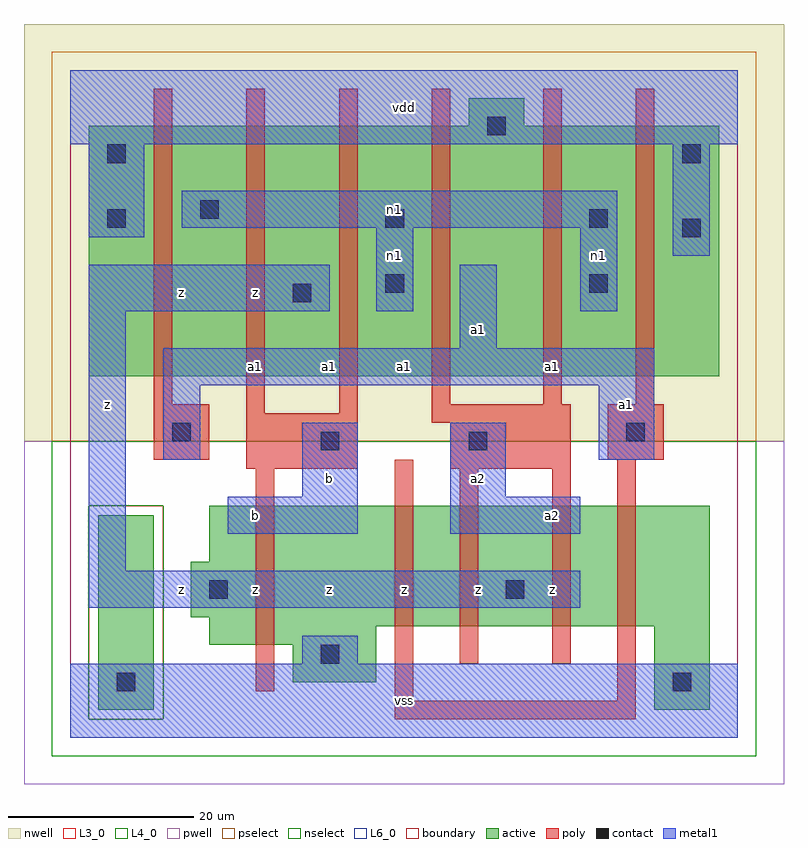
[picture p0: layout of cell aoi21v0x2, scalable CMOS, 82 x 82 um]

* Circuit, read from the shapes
.subckt aoi21v0x2 a1 a2 b n1 vdd vss z
M1 vss b z vss nfet w=15u l=2u
M2 n2 a1 vss vss nfet w=13u l=2u
M3 z a2 n2 vss nfet w=13u l=2u
M4 n3 a2 z vss nfet w=13u l=2u
M5 vss a1 n3 vss nfet w=13u l=2u
M6 n1 a1 vdd n4 pfet w=27u l=2u m=2
M7 z b n1 n4 pfet w=27u l=2u m=2
M8 vdd a2 n1 n4 pfet w=27u l=2u m=2
.ends

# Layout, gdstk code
import gdstk
lib = gdstk.Library(unit=1e-6, precision=1e-09)
def R(c, l, rs):  # rectangles x0, y0, x1, y1
    for r in rs: c.add(gdstk.rectangle(r[:2], r[2:], *l))
L3_0 = (3, 0)
L4_0 = (4, 0)
L6_0 = (6, 0)
contact = (25, 0)
pwell = (41, 0)
nwell = (42, 0)
active = (43, 0)
pselect = (44, 0)
nselect = (45, 0)
poly = (46, 0)
metal1 = (49, 0)
boundary = (63, 0)

aoi21v0x2 = lib.new_cell('aoi21v0x2')
R(aoi21v0x2, L3_0, [(63,3,69,12), (24,6,33,10), (15,10,33,12), (15,12,69,13), (13,13,69,19), (15,19,69,25)])
R(aoi21v0x2, L4_0, [(2,39,70,66), (43,66,49,69)])
R(aoi21v0x2, L6_0, [(3,3,9,24)])
R(aoi21v0x2, contact, [(5,5,7,7), (65,5,67,7), (27,8,29,10), (15,15,17,17), (47,15,49,17), (27,31,29,33), (43,31,45,33), (11,32,13,34), (60,32,62,34), (24,47,26,49), (34,48,36,50), (56,48,58,50), (66,54,68,56), (4,55,6,57), (34,55,36,57), (56,55,58,57), (14,56,16,58), (4,62,6,64), (66,62,68,64), (45,65,47,67)])
R(aoi21v0x2, pwell, [(-5,-5,77,32)])
R(aoi21v0x2, nwell, [(-5,32,77,77)])
R(aoi21v0x2, active, [(3,3,9,24), (63,3,69,12), (24,6,33,10), (15,10,33,12), (15,12,69,13), (13,13,69,19), (15,19,69,25), (2,39,70,66), (43,66,49,69)])
R(aoi21v0x2, pselect, [(2,2,10,25), (-2,32,74,74)])
R(aoi21v0x2, nselect, [(-2,-2,74,2), (-2,2,2,25), (10,2,74,25), (-2,25,74,32)])
R(aoi21v0x2, poly, [(35,2,61,4), (35,4,37,30), (59,4,61,30), (20,5,22,29), (42,8,44,29), (52,8,54,29), (19,29,31,35), (41,29,54,34), (9,30,15,36), (58,30,64,36), (39,34,54,36), (19,35,21,70), (29,35,31,70), (9,36,11,70), (39,36,41,70), (51,36,53,70), (61,36,63,70)])
R(aoi21v0x2, metal1, [(0,0,72,8), (25,8,31,11), (2,14,55,18), (2,18,6,46), (17,22,31,26), (41,22,55,26), (25,26,31,34), (41,26,47,34), (10,30,14,38), (57,30,63,38), (10,38,63,42), (42,42,46,51), (2,46,28,51), (33,46,37,55), (55,46,59,55), (65,52,69,64), (2,54,8,64), (12,55,59,59), (0,64,72,72)])
R(aoi21v0x2, boundary, [(0,0,72,72)])
aoi21v0x2.add(gdstk.Label('n1', (35,52), layer=49, texttype=0))
aoi21v0x2.add(gdstk.Label('n1', (57,52), layer=49, texttype=0))
aoi21v0x2.add(gdstk.Label('n1', (35,57), layer=49, texttype=0))
aoi21v0x2.add(gdstk.Label('z', (12,16), layer=49, texttype=0))
aoi21v0x2.add(gdstk.Label('z', (4,36), layer=49, texttype=0))
aoi21v0x2.add(gdstk.Label('z', (12,48), layer=49, texttype=0))
aoi21v0x2.add(gdstk.Label('z', (28,16), layer=49, texttype=0))
aoi21v0x2.add(gdstk.Label('z', (20,16), layer=49, texttype=0))
aoi21v0x2.add(gdstk.Label('b', (20,24), layer=49, texttype=0))
aoi21v0x2.add(gdstk.Label('b', (28,28), layer=49, texttype=0))
aoi21v0x2.add(gdstk.Label('a1', (28,40), layer=49, texttype=0))
aoi21v0x2.add(gdstk.Label('a1', (20,40), layer=49, texttype=0))
aoi21v0x2.add(gdstk.Label('z', (20,48), layer=49, texttype=0))
aoi21v0x2.add(gdstk.Label('vss', (36,4), layer=49, texttype=0))
aoi21v0x2.add(gdstk.Label('z', (52,16), layer=49, texttype=0))
aoi21v0x2.add(gdstk.Label('z', (44,16), layer=49, texttype=0))
aoi21v0x2.add(gdstk.Label('z', (36,16), layer=49, texttype=0))
aoi21v0x2.add(gdstk.Label('a2', (44,28), layer=49, texttype=0))
aoi21v0x2.add(gdstk.Label('a2', (52,24), layer=49, texttype=0))
aoi21v0x2.add(gdstk.Label('a1', (52,40), layer=49, texttype=0))
aoi21v0x2.add(gdstk.Label('a1', (36,40), layer=49, texttype=0))
aoi21v0x2.add(gdstk.Label('a1', (44,44), layer=49, texttype=0))
aoi21v0x2.add(gdstk.Label('vdd', (36,68), layer=49, texttype=0))
aoi21v0x2.add(gdstk.Label('a1', (60,36), layer=49, texttype=0))

lib.write_gds('aoi21v0x2.gds')
